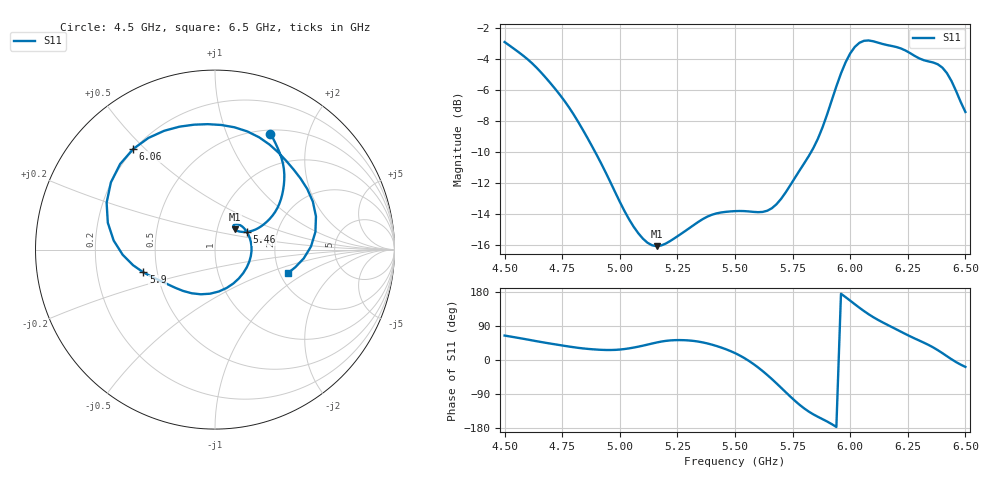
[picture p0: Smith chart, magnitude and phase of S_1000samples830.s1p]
! TOUCHSTONE file generated by CST MICROWAVE STUDIO
! Date and time: Sat Oct 29 13:05:45 2022
! Project name: L.cst
! Parameters = {Di=1.27; Epsilon_r=1.56; InnerDiameter=1.27; Length=2; Lf=10; Lg=60; OuterConductorThickness=0.2921; OuterDiameter=3.6; Wf=3; Wp=41.2; de=1.5; df=6.8; g=0.8; gx=1.11837; gy=2.54539; h=2.34; hf=1.524; px=12.1717; py=9.66696; w=9.7; wx=11.0533; wy=7.12157}
! Header version: 2018
! Port assignment regex: !\s*Touchstone port\s*([0-9]+)\s*=\s*(CST MWS port|CST DS port)\s*([0-9]+|Zmin|Zmax)\s*\(\"(.*)\"\)(\s*mode\s*([0-9]+))?.*
! Touchstone port assignment:
! Touchstone port 1 = CST MWS port 1 ("")
# GHz S DB R 50
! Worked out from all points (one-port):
!   101 points, 4.5 GHz to 6.5 GHz, reference 50 ohm
!   lowest |S11| = -16.1 dB at 5.16 GHz (marker M1), VSWR 1.37, Z = 60.4 + j14.1 ohm
!   |S11| at or under -10 dB: 4.893 GHz to 5.83 GHz (936.8 MHz wide, 17.5 % of centre)
!   S11 on the Smith chart (normalised r, x): 4.5 GHz: 0.54, +1.44; 5.46 GHz: 1.40, +0.28; 5.9 GHz: 0.42, -0.13; 6.06 GHz: 0.20, +0.46; 6.5 GHz: 2.20, -0.71
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4.5  -2.90 64.5
4.64  -4.58 49.5
4.76  -6.70 37.4
4.88  -9.64 28.4
5  -13.20 27.6
5.08  -15.23 35.2
5.16  -16.06 46.2
5.26  -15.33 52.5
5.46  -13.85 28.5
5.5  -13.80 18.2
5.58  -13.85 -10.6
5.64  -13.78 -39.5
5.7  -13.02 -73.2
5.76  -11.66 -107.6
5.9  -7.56 -162.4
5.94  -5.76 -176.8
5.98  -4.21 165.9
6  -3.64 156.6
6.02  -3.22 147.2
6.06  -2.82 129.1
6.1  -2.85 113.1
6.16  -3.10 93.3
6.2  -3.22 81.0
6.26  -3.62 62.5
6.34  -4.15 39.8
6.4  -4.55 18.2
6.46  -6.08 -5.7
6.5  -7.41 -18.2
